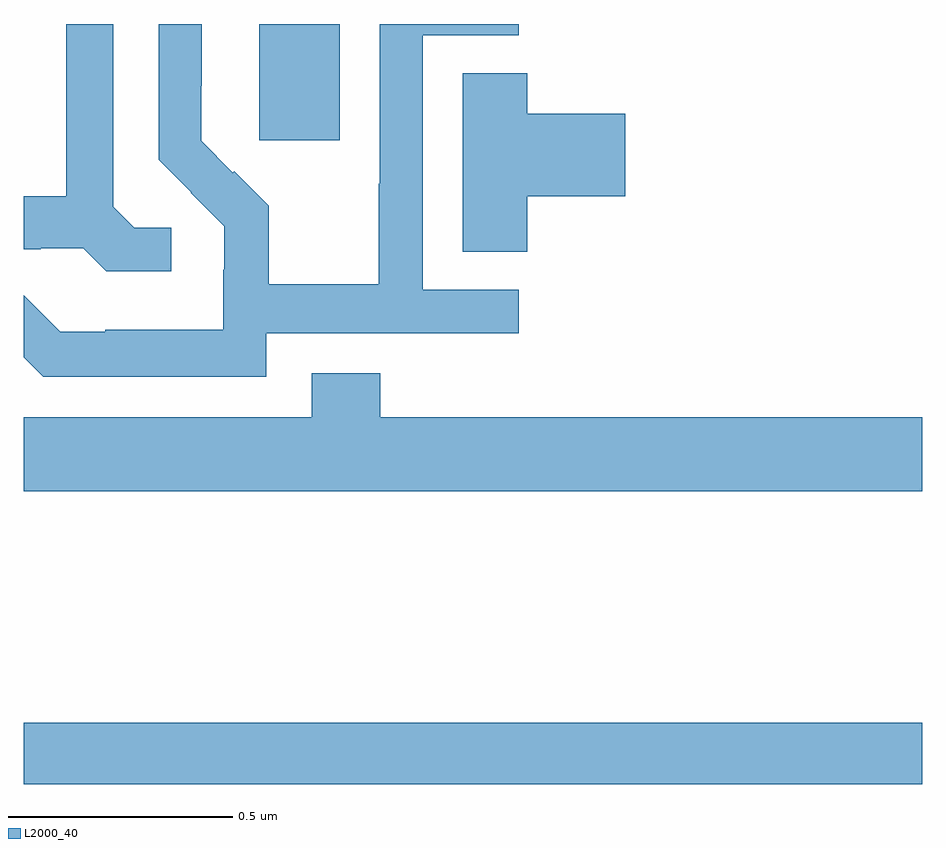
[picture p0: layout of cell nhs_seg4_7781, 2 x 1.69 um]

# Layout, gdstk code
import gdstk
lib = gdstk.Library(unit=1e-6, precision=1e-09)
def R(c, l, rs):  # rectangles x0, y0, x1, y1
    for r in rs: c.add(gdstk.rectangle(r[:2], r[2:], *l))
def P(c, l, *ps):  # polygons
    for p in ps: c.add(gdstk.Polygon(p, *l))
L2000_40 = (2000, 40)

nhs_seg4_7781 = lib.new_cell('nhs_seg4_7781')
R(nhs_seg4_7781, L2000_40, [(207,756.208,209,756.344), (207.524,757.641,207.703,757.9)])
P(nhs_seg4_7781, L2000_40, [(207.328,757.446),(207.246,757.446),(207.199,757.493),(207.199,757.9),(207.095,757.9),(207.095,757.517),(207,757.517),(207,757.398),(207.038,757.398),(207.038,757.401),(207.132,757.401),(207.184,757.349),(207.328,757.349)],
  [(207.54,757.212),(208.102,757.212),(208.102,757.308),(207.888,757.308),(207.888,757.875),(208.102,757.875),(208.102,757.9),(207.792,757.9),(207.792,757.544),(207.79,757.544),(207.79,757.321),(207.545,757.321),(207.545,757.495),(207.468,757.572),(207.465,757.569),(207.395,757.64),(207.395,757.762),(207.396,757.762),(207.396,757.9),(207.3,757.9),(207.3,757.598),(207.373,757.525),(207.372,757.524),(207.446,757.45),(207.446,757.353),(207.444,757.353),(207.444,757.219),(207.181,757.219),(207.181,757.215),(207.081,757.215),(207,757.296),(207,757.158),(207.043,757.115),(207.54,757.115)],
  [(208.121,757.517),(208.339,757.517),(208.339,757.7),(208.121,757.7),(208.121,757.79),(207.977,757.79),(207.977,757.393),(208.121,757.393)],
  [(209,757.024),(207.794,757.024),(207.794,757.123),(207.641,757.123),(207.641,757.024),(207,757.024),(207,756.86),(209,756.86)])

lib.write_gds('nhs_seg4_7781.gds')
